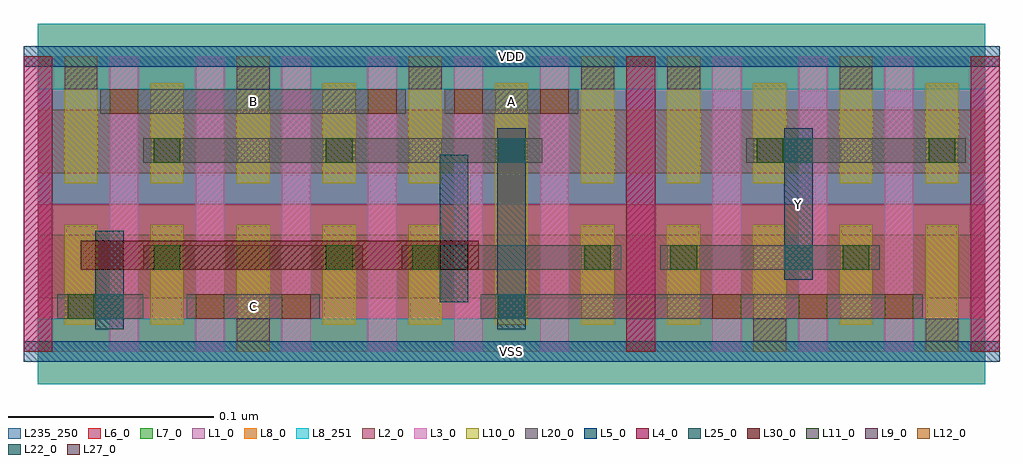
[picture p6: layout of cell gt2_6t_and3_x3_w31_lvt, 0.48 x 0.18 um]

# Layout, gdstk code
import gdstk
lib = gdstk.Library(unit=1e-6, precision=5e-10)
def R(c, l, rs):  # rectangles x0, y0, x1, y1
    for r in rs: c.add(gdstk.rectangle(r[:2], r[2:], *l))
def A(c, l, x, y, w, h, nx, ny, dx, dy):  # array of equal rectangles
    R(c, l, [(x+i*dx, y+j*dy, x+i*dx+w, y+j*dy+h) for i in range(nx) for j in range(ny)])
L1_0 = (1, 0)
L2_0 = (2, 0)
L3_0 = (3, 0)
L4_0 = (4, 0)
L5_0 = (5, 0)
L6_0 = (6, 0)
L7_0 = (7, 0)
L8_0 = (8, 0)
L8_251 = (8, 251)
L9_0 = (9, 0)
L10_0 = (10, 0)
L11_0 = (11, 0)
L12_0 = (12, 0)
L20_0 = (20, 0)
L22_0 = (22, 0)
L25_0 = (25, 0)
L27_0 = (27, 0)
L30_0 = (30, 0)
L235_250 = (235, 250)

gt2_6t_and3_x3_w31_lvt = lib.new_cell('gt2_6t_and3_x3_w31_lvt')
R(gt2_6t_and3_x3_w31_lvt, L1_0, [(0,0.072,0.462,0.144)])
R(gt2_6t_and3_x3_w31_lvt, L2_0, [(0,0.026,0.462,0.057), (0,0.087,0.462,0.118)])
A(gt2_6t_and3_x3_w31_lvt, L3_0, -0.007, 0, 0.014, 0.144, 12, 1, 0.042, 0)
R(gt2_6t_and3_x3_w31_lvt, L4_0, [(-0.007,0,0.007,0.144), (0.287,0,0.301,0.144), (0.455,0,0.469,0.144)])
R(gt2_6t_and3_x3_w31_lvt, L5_0, [(-0.007,-0.005,0.469,0.005), (-0.007,0.139,0.469,0.149)])
R(gt2_6t_and3_x3_w31_lvt, L6_0, [(0,0,0.462,0.072)])
R(gt2_6t_and3_x3_w31_lvt, L7_0, [(0,0.072,0.462,0.144)])
R(gt2_6t_and3_x3_w31_lvt, L8_0, [(0,-0.016,0.462,0.016), (0,0.128,0.462,0.16)])
R(gt2_6t_and3_x3_w31_lvt, L8_251, [(0,-0.016,0.462,0.016), (0,0.128,0.462,0.16)])
A(gt2_6t_and3_x3_w31_lvt, L9_0, 0.013, 0.128, 0.016, 0.011, 4, 1, 0.084, 0)
R(gt2_6t_and3_x3_w31_lvt, L9_0, [(0.097,0.005,0.113,0.016), (0.349,0.005,0.365,0.016), (0.433,0.005,0.449,0.016), (0.307,0.128,0.323,0.139), (0.391,0.128,0.407,0.139)])
A(gt2_6t_and3_x3_w31_lvt, L10_0, 0.013, 0.082, 0.016, 0.062, 4, 1, 0.084, 0)
R(gt2_6t_and3_x3_w31_lvt, L10_0, [(0.097,0,0.113,0.062), (0.349,0,0.365,0.062), (0.433,0,0.449,0.062), (0.013,0.013,0.029,0.062), (0.055,0.013,0.071,0.062), (0.139,0.013,0.155,0.062), (0.181,0.013,0.197,0.062), (0.223,0.013,0.239,0.131), (0.265,0.013,0.281,0.062), (0.307,0.013,0.323,0.062), (0.391,0.013,0.407,0.062), (0.055,0.082,0.071,0.131), (0.139,0.082,0.155,0.131), (0.307,0.082,0.323,0.144), (0.349,0.082,0.365,0.131), (0.391,0.082,0.407,0.144), (0.433,0.082,0.449,0.131)])
A(gt2_6t_and3_x3_w31_lvt, L11_0, 0.0565, 0.092, 0.013, 0.012, 3, 1, 0.084, 0)
R(gt2_6t_and3_x3_w31_lvt, L11_0, [(0.0145,0.016,0.0275,0.028), (0.2245,0.016,0.2375,0.028), (0.0565,0.04,0.0695,0.052), (0.1405,0.04,0.1535,0.052), (0.1825,0.04,0.1955,0.052), (0.2665,0.04,0.2795,0.052), (0.3085,0.04,0.3215,0.052), (0.3925,0.04,0.4055,0.052), (0.3505,0.092,0.3635,0.104), (0.4345,0.092,0.4475,0.104)])
A(gt2_6t_and3_x3_w31_lvt, L12_0, 0.329, 0.016, 0.014, 0.012, 3, 1, 0.042, 0)
A(gt2_6t_and3_x3_w31_lvt, L12_0, 0.161, 0.116, 0.014, 0.012, 3, 1, 0.042, 0)
R(gt2_6t_and3_x3_w31_lvt, L12_0, [(0.077,0.016,0.091,0.028), (0.119,0.016,0.133,0.028), (0.035,0.116,0.049,0.128)])
A(gt2_6t_and3_x3_w31_lvt, L20_0, 0.0515, 0.04, 0.107, 0.012, 3, 1, 0.126, 0)
R(gt2_6t_and3_x3_w31_lvt, L20_0, [(0.0095,0.016,0.0515,0.028), (0.0725,0.016,0.1375,0.028), (0.216,0.016,0.4315,0.028), (0.0515,0.092,0.246,0.104), (0.3455,0.092,0.4525,0.104), (0.0305,0.116,0.1795,0.128), (0.1985,0.116,0.2635,0.128)])
R(gt2_6t_and3_x3_w31_lvt, L22_0, [(0.028,0.016,0.042,0.028), (0.224,0.016,0.238,0.028), (0.196,0.04,0.21,0.052), (0.364,0.04,0.378,0.052), (0.224,0.092,0.238,0.104), (0.364,0.092,0.378,0.104)])
R(gt2_6t_and3_x3_w31_lvt, L25_0, [(0.028,0.011,0.042,0.059), (0.224,0.011,0.238,0.109), (0.196,0.024,0.21,0.096), (0.364,0.035,0.378,0.109)])
R(gt2_6t_and3_x3_w31_lvt, L27_0, [(0.028,0.04,0.042,0.054), (0.196,0.04,0.21,0.054)])
R(gt2_6t_and3_x3_w31_lvt, L30_0, [(0.021,0.04,0.215,0.054)])
R(gt2_6t_and3_x3_w31_lvt, L235_250, [(0,0,0.462,0.144)])
gt2_6t_and3_x3_w31_lvt.add(gdstk.Label('VSS', (0.231,0), layer=8, texttype=251))
gt2_6t_and3_x3_w31_lvt.add(gdstk.Label('VDD', (0.231,0.144), layer=8, texttype=251))
gt2_6t_and3_x3_w31_lvt.add(gdstk.Label('A', (0.231,0.122), layer=20, texttype=251))
gt2_6t_and3_x3_w31_lvt.add(gdstk.Label('B', (0.105,0.122), layer=20, texttype=251))
gt2_6t_and3_x3_w31_lvt.add(gdstk.Label('C', (0.105,0.022), layer=20, texttype=251))
gt2_6t_and3_x3_w31_lvt.add(gdstk.Label('Y', (0.371,0.072), layer=25, texttype=251))

lib.write_gds('gt2_6t_and3_x3_w31_lvt.gds')
